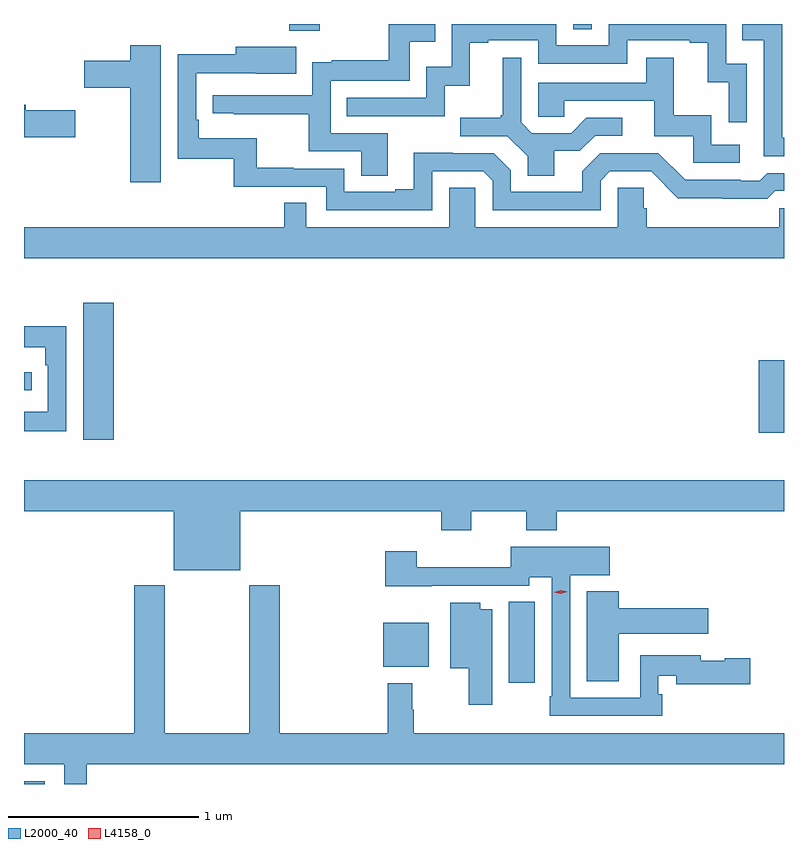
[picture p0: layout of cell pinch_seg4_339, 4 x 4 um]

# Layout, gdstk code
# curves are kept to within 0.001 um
import gdstk
lib = gdstk.Library(unit=1e-6, precision=1e-09)
def R(c, l, rs):  # rectangles x0, y0, x1, y1
    for r in rs: c.add(gdstk.rectangle(r[:2], r[2:], *l))
def P(c, l, *ps):  # polygons
    for p in ps: c.add(gdstk.Polygon(p, *l))
L2000_40 = (2000, 40)
L4158_0 = (4158, 0)

pinch_seg4_339 = lib.new_cell('pinch_seg4_339')
R(pinch_seg4_339, L2000_40, [(956.448,810.037,956.556,810.051), (959,810.57,959.137,810.995), (958.34,810.653,958.579,810.886), (956.759,811.848,956.92,812.569), (960.314,811.887,960.448,812.268), (956.448,812.109,956.488,812.205), (957.845,814.001,958.005,814.037), (959.34,814.009,959.436,814.037)])
P(pinch_seg4_339, L2000_40, [(958.363,813.462),(958.062,813.462),(958.062,813.738),(958.479,813.738),(958.479,813.944),(958.613,813.944),(958.613,814.037),(958.368,814.037),(958.368,813.847),(958.069,813.847),(958.069,813.835),(957.966,813.835),(957.966,813.663),(957.441,813.663),(957.441,813.567),(957.553,813.567),(957.553,813.562),(957.946,813.562),(957.946,813.366),(958.223,813.366),(958.223,813.238),(958.363,813.238)],
  [(960.448,813.438),(960.438,813.438),(960.438,814.037),(960.229,814.037),(960.229,813.951),(960.342,813.951),(960.342,813.342),(960.448,813.342)],
  [(960.252,813.828),(960.144,813.828),(960.144,814.037),(959.526,814.037),(959.526,813.924),(959.25,813.924),(959.25,814.037),(958.698,814.037),(958.698,813.811),(958.566,813.811),(958.566,813.648),(958.147,813.648),(958.147,813.552),(958.662,813.552),(958.662,813.713),(958.795,813.713),(958.795,813.939),(958.891,813.939),(958.891,813.951),(959.154,813.951),(959.154,813.828),(959.622,813.828),(959.622,813.951),(959.951,813.951),(959.951,813.939),(960.047,813.939),(960.047,813.731),(960.156,813.731),(960.156,813.519),(960.252,813.519)],
  [(957.169,813.925),(957.008,813.925),(957.008,813.843),(956.766,813.843),(956.766,813.701),(957.008,813.701),(957.008,813.204),(957.169,813.204)],
  [(958.596,813.261),(958.866,813.261),(958.914,813.213),(958.914,813.057),(959.484,813.057),(959.484,813.213),(959.532,813.261),(959.748,813.261),(959.89,813.119),(960.126,813.119),(960.126,813.117),(960.359,813.117),(960.401,813.159),(960.448,813.159),(960.448,813.252),(960.359,813.252),(960.32,813.213),(960.221,813.213),(960.221,813.216),(959.928,813.216),(959.787,813.357),(959.481,813.357),(959.387,813.263),(959.387,813.153),(959.01,813.153),(959.01,813.267),(958.92,813.357),(958.704,813.357),(958.704,813.359),(958.499,813.359),(958.499,813.166),(958.403,813.166),(958.403,813.153),(958.134,813.153),(958.134,813.276),(957.869,813.276),(957.869,813.281),(957.673,813.281),(957.673,813.436),(957.368,813.436),(957.368,813.532),(957.354,813.532),(957.354,813.777),(957.881,813.776),(957.881,813.916),(957.563,813.916),(957.563,813.878),(957.258,813.878),(957.258,813.327),(957.552,813.327),(957.552,813.18),(958.038,813.18),(958.038,813.057),(958.596,813.057)],
  [(959.239,813.37),(959.374,813.37),(959.454,813.45),(959.596,813.45),(959.596,813.543),(959.408,813.543),(959.327,813.462),(959.121,813.462),(959.064,813.519),(959.064,813.859),(958.967,813.859),(958.967,813.556),(958.956,813.556),(958.956,813.544),(958.743,813.544),(958.743,813.447),(958.992,813.447),(959.099,813.34),(959.099,813.238),(959.239,813.238)],
  [(960.214,813.402),(960.066,813.402),(960.066,813.556),(959.867,813.556),(959.867,813.859),(959.723,813.859),(959.723,813.729),(959.154,813.729),(959.154,813.549),(959.291,813.549),(959.291,813.633),(959.765,813.633),(959.765,813.447),(959.97,813.447),(959.97,813.306),(960.214,813.306)],
  [(956.719,813.584),(956.458,813.584),(956.458,813.613),(956.448,813.613),(956.448,813.442),(956.719,813.442)],
  [(960.448,813.066),(960.423,813.066),(960.423,812.968),(959.726,812.968),(959.726,813.066),(959.711,813.066),(959.711,813.176),(959.574,813.176),(959.574,812.968),(958.824,812.968),(958.824,813.176),(958.685,813.176),(958.685,812.968),(957.933,812.968),(957.933,813.095),(957.817,813.095),(957.817,812.968),(956.448,812.968),(956.448,812.804),(960.448,812.804)],
  [(956.67,812.446),(956.448,812.446),(956.448,812.336),(956.561,812.336),(956.561,812.24),(956.574,812.24),(956.574,811.995),(956.448,811.995),(956.448,811.894),(956.67,811.894)],
  [(957.586,811.472),(958.643,811.472),(958.643,811.373),(958.803,811.373),(958.803,811.472),(959.092,811.472),(959.092,811.373),(959.252,811.373),(959.252,811.472),(960.448,811.472),(960.448,811.636),(956.448,811.636),(956.448,811.472),(957.236,811.472),(957.236,811.163),(957.586,811.163)],
  [(959.807,810.51),(959.787,810.51),(959.787,810.606),(959.882,810.606),(959.882,810.563),(960.271,810.563),(960.271,810.698),(960.136,810.698),(960.136,810.685),(960.01,810.685),(960.01,810.714),(959.691,810.714),(959.691,810.492),(959.322,810.492),(959.322,811.136),(959.53,811.136),(959.53,811.285),(959.01,811.285),(959.01,811.178),(958.514,811.178),(958.514,811.261),(958.349,811.261),(958.349,811.079),(958.595,811.079),(958.595,811.08),(959.106,811.08),(959.106,811.124),(959.226,811.124),(959.226,810.499),(959.214,810.499),(959.214,810.396),(959.807,810.396)],
  [(956.777,810.14),(960.448,810.14),(960.448,810.304),(958.499,810.304),(958.499,810.428),(958.492,810.428),(958.492,810.568),(958.363,810.568),(958.363,810.304),(957.794,810.304),(957.794,811.084),(957.634,811.084),(957.634,810.304),(957.189,810.304),(957.189,811.084),(957.029,811.084),(957.029,810.304),(956.448,810.304),(956.448,810.14),(956.661,810.14),(956.661,810.037),(956.777,810.037)],
  [(959.578,810.827),(960.049,810.827),(960.049,810.962),(959.578,810.962),(959.578,811.051),(959.411,811.051),(959.411,810.577),(959.578,810.577)],
  [(958.912,810.958),(958.849,810.958),(958.849,810.991),(958.691,810.991),(958.691,810.647),(958.79,810.647),(958.79,810.453),(958.912,810.453)])
P(pinch_seg4_339, L4158_0, [(959.274,811.038),(959.239,811.047),(959.238,811.047),(959.239,811.047),(959.273,811.058),(959.308,811.05),(959.308,811.05),(959.308,811.05)])

lib.write_gds('pinch_seg4_339.gds')
